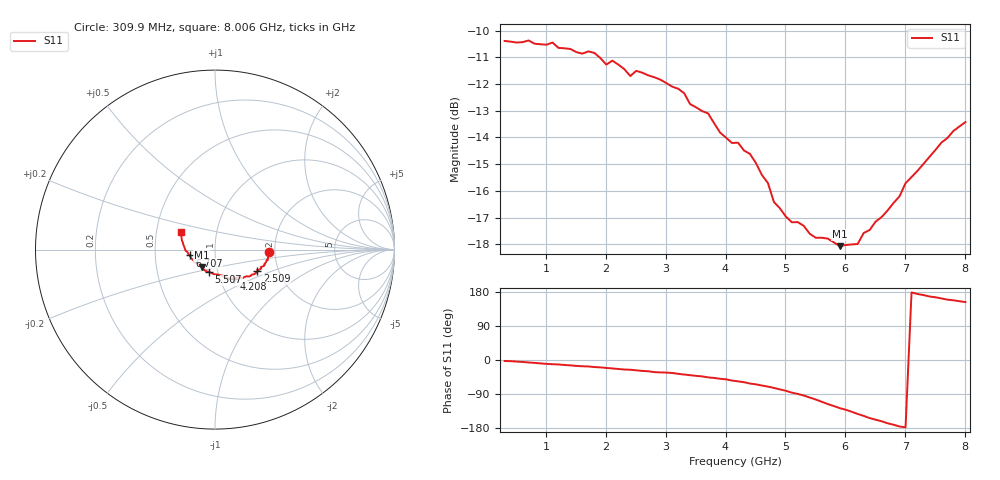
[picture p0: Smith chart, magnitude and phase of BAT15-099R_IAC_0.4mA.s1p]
! Infineon Technologies  Discrete & RF Semiconductors
! BAT15-099R
! IAC = 0.4 mA
! One-Port S-Parameters
# Hz  S  MA  R  50
!f  S11
!Hz  Mag  Ang
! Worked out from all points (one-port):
!   78 points, 309.9 MHz to 8.006 GHz, reference 50 ohm
!   lowest |S11| = -18.1 dB at 5.907 GHz (marker M1), VSWR 1.29, Z = 42.2 - j8.55 ohm
!   |S11| at or under -10 dB: start of sweep to end of sweep
!   S11 on the Smith chart (normalised r, x): 309.9 MHz: 1.87, -0.06; 2.509 GHz: 1.56, -0.41; 4.208 GHz: 1.17, -0.40; 5.507 GHz: 0.91, -0.23; 6.707 GHz: 0.75, -0.05; 8.006 GHz: 0.67, +0.14
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3.0985e8  0.3025 -2.6
1.10945e9  0.3005 -11.1
1.30935e9  0.2931 -13.2
1.8091e9  0.2873 -18.5
2.009e9  0.2732 -21.0
2.10895e9  0.2779 -22.2
2.30885e9  0.2679 -25.1
2.4088e9  0.2601 -25.7
2.50875e9  0.2659 -27.2
3.2084e9  0.2462 -36.4
3.4083e9  0.2304 -40.1
3.70815e9  0.2214 -45.9
3.90805e9  0.2039 -49.5
4.2079e9  0.1951 -56.4
4.50775e9  0.1786 -64.3
4.70765e9  0.164 -70.2
4.8076e9  0.1511 -73.7
5.10745e9  0.1384 -86.2
5.2074e9  0.1385 -89.5
5.50725e9  0.1295 -104.3
5.90705e9  0.1249 -127.0
6.10695e9  0.1258 -136.6
6.2069e9  0.126 -142.4
6.30685e9  0.1321 -147.5
6.70665e9  0.1456 -167.0
7.10645e9  0.1682 178.2
7.6062e9  0.1952 162.4
8.006e9  0.2132 152.8
